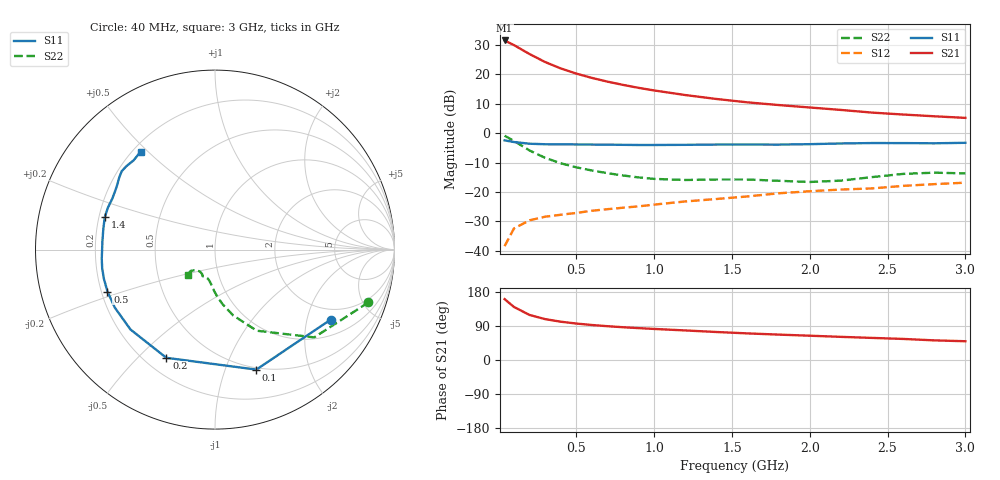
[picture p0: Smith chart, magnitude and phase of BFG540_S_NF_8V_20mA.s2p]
! Filename:  BFG540I.S2P  Version:  3.0
! Philips part #: BFG540  Date: Feb 1992
! Bias condition: Vce=8V, Ic=20mA
! IN LINE PINNING: same data as with cross emitter pinning.
#  MHz  S  MA  R  50
! Freq  S11  S21  S12  S22  !GUM [dB]
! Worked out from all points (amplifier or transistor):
!   21 points, 40 MHz to 3 GHz, reference 50 ohm
!   highest |S21| = 31.5 dB at 40 MHz (marker M1)
!   |S21| within 3 dB of that: start of sweep to 146.8 MHz
!   unconditionally stable (mu >= 1): 954.4 MHz to end of sweep
!   at 300 MHz: K = 0.46, MSG = 26.3 dB, |S12| = -28.4 dB
!   at 1 GHz: K = 1.02, MAG = 18.6 dB, |S12| = -24.3 dB
!   at 3 GHz: K = 1.17, MAG = 8.5 dB, |S12| = -16.8 dB
!   lowest NFmin = 1.50 dB at 900 MHz
!   S11 on the Smith chart (normalised r, x): 40 MHz: 1.56, -2.81; 100 MHz: 0.48, -1.29; 200 MHz: 0.28, -0.61; 500 MHz: 0.22, -0.18; 1.4 GHz: 0.22, +0.14; 3 GHz: 0.23, +0.47
40  0.754 -31.1  37.62 160.6  0.012 73.4  0.904 -19.0
100  0.707 -71.0  31.38 140.0  0.024 57.2  0.738 -41.5
200  0.661 -114.2  22.11 118.9  0.033 45.2  0.508 -62.8
300  0.648 -136.6  16.19 107.9  0.038 42.1  0.381 -74.5
400  0.645 -149.9  12.61 101.1  0.041 42.1  0.308 -82.0
500  0.643 -158.7  10.29 96.2  0.044 43.2  0.263 -87.2
600  0.64 -165.4  8.698 92.4  0.048 45.4  0.232 -91.0
700  0.637 -170.7  7.518 89.2  0.051 47.5  0.209 -94.0
800  0.633 -175.4  6.617 86.5  0.054 49.3  0.191 -96.9
900  0.629 -179.8  5.894 84.1  0.057 51.4  0.177 -100.1
1000  0.629 176.1  5.32 82.0  0.061 53.3  0.167 -103.6
1200  0.633 169.3  4.445 78.0  0.069 55.7  0.16 -110.5
1400  0.64 163.7  3.812 73.9  0.076 57.2  0.163 -114.5
1600  0.641 158.8  3.338 70.2  0.084 59.7  0.163 -115.7
1800  0.639 153.2  3.004 67.0  0.095 60.0  0.155 -117.3
2000  0.65 147.5  2.73 64.1  0.103 61.4  0.148 -124.0
2200  0.668 143.0  2.482 61.1  0.11 61.9  0.156 -133.5
2400  0.679 139.9  2.236 58.3  0.115 62.9  0.179 -138.6
2600  0.678 136.7  2.073 55.6  0.127 62.4  0.203 -138.4
2800  0.673 132.4  1.935 51.8  0.136 60.5  0.213 -136.3
3000  0.685 127.2  1.818 49.5  0.144 61.3  0.207 -137.7
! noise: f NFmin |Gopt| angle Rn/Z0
900  1.5  0.232  140  0.14
2000  2.2  0.49  -163  0.11
